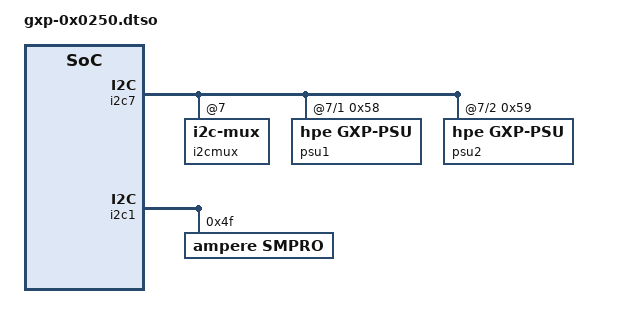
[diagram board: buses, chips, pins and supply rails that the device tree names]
/dts-v1/;
/plugin/;
&{/} {
    model = "HPE ProLiant RL300 Gen11";
    compatible = "hpe,gxp-rl300gen11", "hpe,gxp";

	aliases {
		/* i2cmux@3 */
		i2c48 = "/ahb@80000000/i2cmux@3/i2c3@1";
		i2c49 = "/ahb@80000000/i2cmux@3/i2c3@2";
		i2c50 = "/ahb@80000000/i2cmux@3/i2c3@3";
		i2c51 = "/ahb@80000000/i2cmux@3/i2c3@4";
		i2c52 = "/ahb@80000000/i2cmux@3/i2c3@5";
		i2c53 = "/ahb@80000000/i2cmux@3/i2c3@6";
		i2c54 = "/ahb@80000000/i2cmux@3/i2c3@7";
		i2c55 = "/ahb@80000000/i2cmux@3/i2c3@8";
		i2c56 = "/ahb@80000000/i2cmux@3/i2c3@9";
		i2c57 = "/ahb@80000000/i2cmux@3/i2c3@a";
		i2c58 = "/ahb@80000000/i2cmux@3/i2c3@b";
		i2c59 = "/ahb@80000000/i2cmux@3/i2c3@c";
		i2c60 = "/ahb@80000000/i2cmux@3/i2c3@d";
		i2c61 = "/ahb@80000000/i2cmux@3/i2c3@e";
		i2c62 = "/ahb@80000000/i2cmux@3/i2c3@f";
		i2c63 = "/ahb@80000000/i2cmux@3/i2c3@10";
		i2c64 = "/ahb@80000000/i2cmux@3/i2c3@11";
		i2c65 = "/ahb@80000000/i2cmux@3/i2c3@12";
		i2c68 = "/ahb@80000000/i2cmux@3/i2c3@15";
		i2c69 = "/ahb@80000000/i2cmux@3/i2c3@16";
		i2c70 = "/ahb@80000000/i2cmux@3/i2c3@17";
		i2c71 = "/ahb@80000000/i2cmux@3/i2c3@18";

		/* i2cmux@4 */
		i2c82 = "/ahb@80000000/i2cmux@4/i2c4@3";
		i2c83 = "/ahb@80000000/i2cmux@4/i2c4@4";
		i2c84 = "/ahb@80000000/i2cmux@4/i2c4@5";
		i2c85 = "/ahb@80000000/i2cmux@4/i2c4@6";
		i2c86 = "/ahb@80000000/i2cmux@4/i2c4@7";
		i2c87 = "/ahb@80000000/i2cmux@4/i2c4@8";
	};
};
&{/ahb@80000000} {
	/include/ "gxp-ubm-mux3.dtsi"
	/include/ "gxp-ubm-mux4.dtsi"
    /* add PSU mux */
    i2cmux@7 {
        compatible = "i2c-mux";
        i2c-parent = <&i2c7>;
        mux-controls = <&i2c_mux_ctrl 7>;
        #address-cells = <1>;
        #size-cells = <0>;
        i2c7@1 {
            reg = <1>;
            #address-cells = <1>;
            #size-cells = <0>;
            psu1: psu@58 {
                compatible = "hpe,gxp-psu";
                reg = <0x58>;
            };
        };
        i2c7@2 {
            reg = <2>;
            #address-cells = <1>;
            #size-cells = <0>;
            psu2: psu@59 {
                compatible = "hpe,gxp-psu";
                reg = <0x59>;
            };
        };
    };
    syspower: syspower {
        compatible = "hpe,gxp-power";
        psu_phandle = <&psu1>, <&psu2>;
    };
};
&i2c1 {
    bus-frequency = <400000>;
    smpro@4f {
        compatible = "ampere,smpro";
        reg = <0x4f>;
        #address-cells = <1>;
        #size-cells = <0>;
        cpu-monitor = <1>;
        hwmon {
            compatible = "ampere,ac01-hwmon";
        };
        misc {
            compatible = "ampere,ac01-misc";
        };
        errmon {
            compatible = "ampere,ac01-errmon";
        };
    };
};
